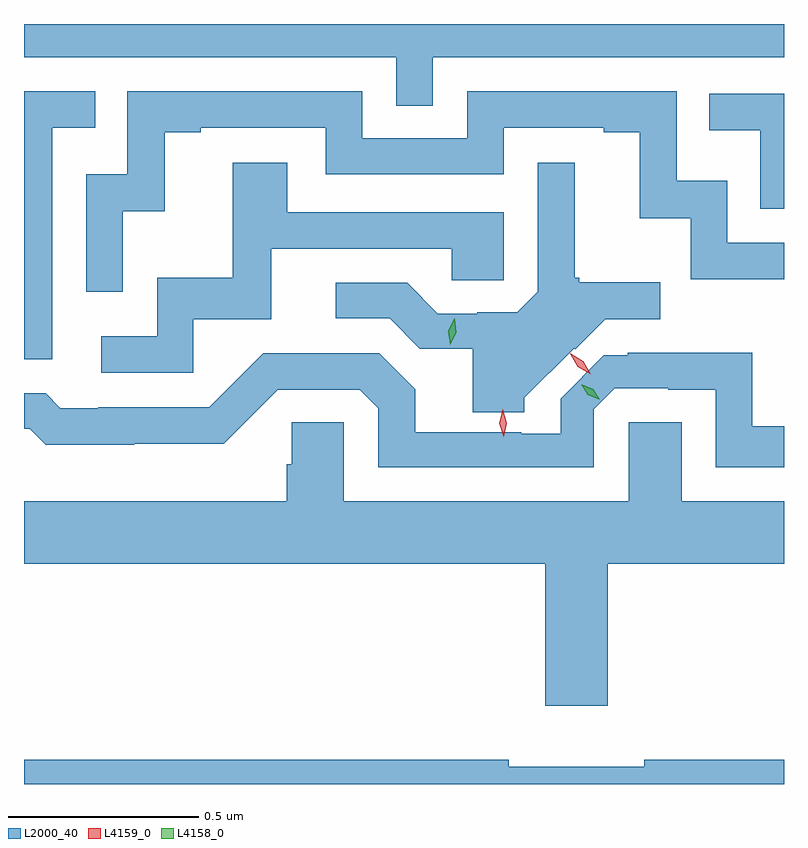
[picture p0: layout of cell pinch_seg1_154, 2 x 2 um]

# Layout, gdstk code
import gdstk
lib = gdstk.Library(unit=1e-6, precision=1e-09)
def P(c, l, *ps):  # polygons
    for p in ps: c.add(gdstk.Polygon(p, *l))
L2000_40 = (2000, 40)
L4158_0 = (4158, 0)
L4159_0 = (4159, 0)

pinch_seg1_154 = lib.new_cell('pinch_seg1_154')
P(pinch_seg1_154, L2000_40, [(1087.788,555.728),(1088.712,555.728),(1088.712,555.816),(1086.712,555.816),(1086.712,555.728),(1087.692,555.728),(1087.692,555.601),(1087.788,555.601)],
  [(1086.972,555.323),(1087.082,555.323),(1087.082,555.531),(1087.177,555.531),(1087.177,555.543),(1087.506,555.543),(1087.506,555.42),(1087.974,555.42),(1087.974,555.543),(1088.237,555.543),(1088.237,555.531),(1088.333,555.531),(1088.333,555.305),(1088.466,555.305),(1088.466,555.144),(1088.712,555.144),(1088.712,555.24),(1088.562,555.24),(1088.562,555.403),(1088.43,555.403),(1088.43,555.639),(1087.878,555.639),(1087.878,555.516),(1087.602,555.516),(1087.602,555.639),(1086.984,555.639),(1086.984,555.42),(1086.876,555.42),(1086.876,555.111),(1086.972,555.111)],
  [(1086.786,555.543),(1086.899,555.543),(1086.899,555.639),(1086.712,555.639),(1086.712,554.934),(1086.786,554.934)],
  [(1088.712,555.633),(1088.515,555.633),(1088.515,555.536),(1088.65,555.536),(1088.65,555.33),(1088.712,555.33)],
  [(1087.158,555.039),(1087.363,555.039),(1087.363,555.225),(1087.837,555.225),(1087.837,555.142),(1087.974,555.142),(1087.974,555.321),(1087.405,555.321),(1087.405,555.451),(1087.261,555.451),(1087.261,555.148),(1087.062,555.148),(1087.062,554.994),(1086.915,554.994),(1086.915,554.898),(1087.158,554.898)],
  [(1088.029,554.832),(1088.159,554.962),(1088.162,554.96),(1088.241,555.039),(1088.386,555.039),(1088.386,555.136),(1088.173,555.136),(1088.173,555.148),(1088.161,555.148),(1088.161,555.451),(1088.064,555.451),(1088.064,555.111),(1088.01,555.057),(1087.905,555.057),(1087.905,555.054),(1087.801,555.054),(1087.72,555.135),(1087.533,555.135),(1087.533,555.042),(1087.674,555.042),(1087.754,554.962),(1087.893,554.962),(1087.893,554.794),(1088.029,554.794)],
  [(1088.211,554.802),(1088.266,554.857),(1088.407,554.857),(1088.407,554.853),(1088.532,554.853),(1088.532,554.649),(1088.712,554.649),(1088.712,554.758),(1088.629,554.758),(1088.629,554.951),(1088.301,554.951),(1088.301,554.944),(1088.238,554.944),(1088.124,554.83),(1088.124,554.738),(1088.021,554.738),(1088.021,554.742),(1087.741,554.742),(1087.741,554.855),(1087.647,554.949),(1087.341,554.949),(1087.2,554.808),(1086.907,554.808),(1086.907,554.805),(1086.808,554.805),(1086.769,554.844),(1086.712,554.844),(1086.712,554.751),(1086.727,554.751),(1086.769,554.709),(1087.002,554.709),(1087.002,554.711),(1087.238,554.711),(1087.38,554.853),(1087.596,554.853),(1087.644,554.805),(1087.644,554.649),(1088.211,554.649)],
  [(1088.248,554.396),(1088.712,554.396),(1088.712,554.56),(1088.443,554.56),(1088.443,554.768),(1088.303,554.768),(1088.303,554.56),(1087.554,554.56),(1087.554,554.768),(1087.417,554.768),(1087.417,554.658),(1087.403,554.658),(1087.403,554.56),(1086.712,554.56),(1086.712,554.396),(1088.084,554.396),(1088.084,554.022),(1088.248,554.022)],
  [(1088.712,553.88),(1088.344,553.88),(1088.344,553.861),(1087.988,553.861),(1087.988,553.88),(1086.712,553.88),(1086.712,553.816),(1088.712,553.816)])
P(pinch_seg1_154, L4158_0, [(1087.834,554.972),(1087.834,554.972),(1087.829,555.008),(1087.844,555.041),(1087.844,555.041),(1087.845,555.041),(1087.849,555.005),(1087.834,554.972)],
  [(1088.227,554.827),(1088.196,554.84),(1088.179,554.868),(1088.179,554.868),(1088.179,554.868),(1088.21,554.855),(1088.227,554.827),(1088.227,554.827)])
P(pinch_seg1_154, L4159_0, [(1088.203,554.894),(1088.169,554.914),(1088.15,554.948),(1088.15,554.949),(1088.15,554.949),(1088.184,554.928),(1088.204,554.894),(1088.204,554.894)],
  [(1087.974,554.73),(1087.974,554.73),(1087.963,554.766),(1087.972,554.802),(1087.972,554.802),(1087.972,554.802),(1087.983,554.766),(1087.974,554.73)])

lib.write_gds('pinch_seg1_154.gds')
